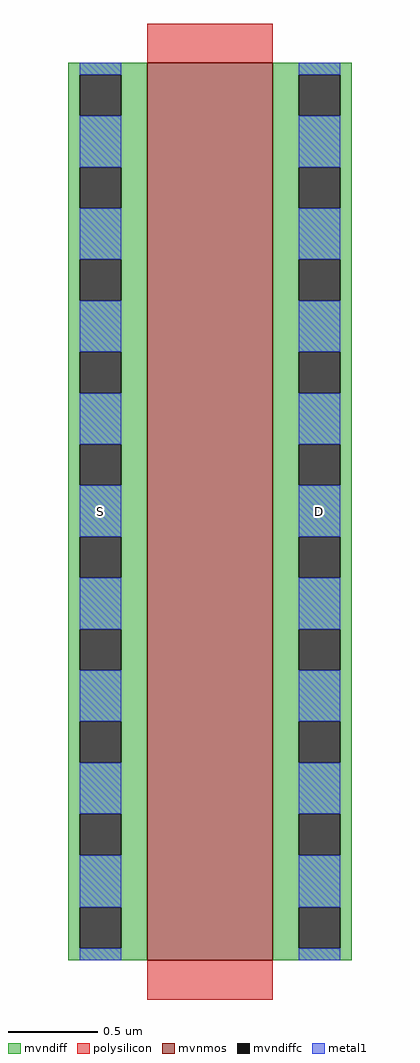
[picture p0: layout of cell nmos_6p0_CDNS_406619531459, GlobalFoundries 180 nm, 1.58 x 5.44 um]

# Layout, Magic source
magic
tech gf180mcuD
magscale 1 10
<< mvnmos >>
rect 0 0 140 1000
<< mvndiff >>
rect -88 987 0 1000
rect -88 941 -75 987
rect -29 941 0 987
rect -88 884 0 941
rect -88 838 -75 884
rect -29 838 0 884
rect -88 781 0 838
rect -88 735 -75 781
rect -29 735 0 781
rect -88 678 0 735
rect -88 632 -75 678
rect -29 632 0 678
rect -88 575 0 632
rect -88 529 -75 575
rect -29 529 0 575
rect -88 472 0 529
rect -88 426 -75 472
rect -29 426 0 472
rect -88 369 0 426
rect -88 323 -75 369
rect -29 323 0 369
rect -88 266 0 323
rect -88 220 -75 266
rect -29 220 0 266
rect -88 163 0 220
rect -88 117 -75 163
rect -29 117 0 163
rect -88 59 0 117
rect -88 13 -75 59
rect -29 13 0 59
rect -88 0 0 13
rect 140 987 228 1000
rect 140 941 169 987
rect 215 941 228 987
rect 140 884 228 941
rect 140 838 169 884
rect 215 838 228 884
rect 140 781 228 838
rect 140 735 169 781
rect 215 735 228 781
rect 140 678 228 735
rect 140 632 169 678
rect 215 632 228 678
rect 140 575 228 632
rect 140 529 169 575
rect 215 529 228 575
rect 140 472 228 529
rect 140 426 169 472
rect 215 426 228 472
rect 140 369 228 426
rect 140 323 169 369
rect 215 323 228 369
rect 140 266 228 323
rect 140 220 169 266
rect 215 220 228 266
rect 140 163 228 220
rect 140 117 169 163
rect 215 117 228 163
rect 140 59 228 117
rect 140 13 169 59
rect 215 13 228 59
rect 140 0 228 13
<< mvndiffc >>
rect -75 941 -29 987
rect -75 838 -29 884
rect -75 735 -29 781
rect -75 632 -29 678
rect -75 529 -29 575
rect -75 426 -29 472
rect -75 323 -29 369
rect -75 220 -29 266
rect -75 117 -29 163
rect -75 13 -29 59
rect 169 941 215 987
rect 169 838 215 884
rect 169 735 215 781
rect 169 632 215 678
rect 169 529 215 575
rect 169 426 215 472
rect 169 323 215 369
rect 169 220 215 266
rect 169 117 215 163
rect 169 13 215 59
<< polysilicon >>
rect 0 1000 140 1044
rect 0 -44 140 0
<< metal1 >>
rect -75 987 -29 1000
rect -75 884 -29 941
rect -75 781 -29 838
rect -75 678 -29 735
rect -75 575 -29 632
rect -75 472 -29 529
rect -75 369 -29 426
rect -75 266 -29 323
rect -75 163 -29 220
rect -75 59 -29 117
rect -75 0 -29 13
rect 169 987 215 1000
rect 169 884 215 941
rect 169 781 215 838
rect 169 678 215 735
rect 169 575 215 632
rect 169 472 215 529
rect 169 369 215 426
rect 169 266 215 323
rect 169 163 215 220
rect 169 59 215 117
rect 169 0 215 13
<< labels >>
rlabel metal1 192 500 192 500 4 D
rlabel metal1 -52 500 -52 500 4 S
<< end >>
